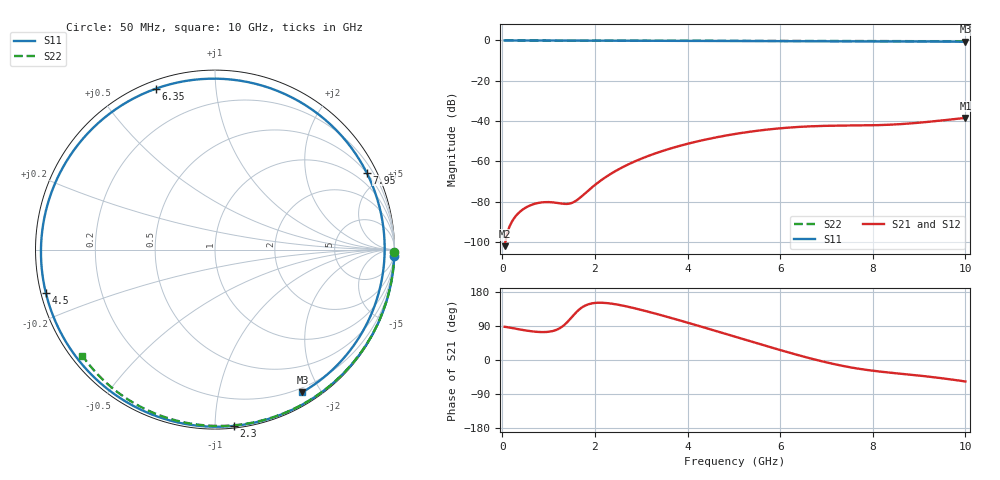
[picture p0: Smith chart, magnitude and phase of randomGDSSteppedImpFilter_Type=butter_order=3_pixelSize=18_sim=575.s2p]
! freq	dB(S11)	phase(S11)	dB(S12)	phase(S12)
!  dB(S21)	phase(S21)	dB(S22)	phase(S22)
!S-par simulation data
#  GHz  S  DB  R 50
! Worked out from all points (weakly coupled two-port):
!   200 points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, 50 MHz to 10 GHz, reference 50 ohm
!   highest |S21| = -38.39 dB at 10 GHz (marker M1); lowest = -102.0 dB at 50 MHz (marker M2)
!   lowest |S11| = -0.6 dB at 10 GHz (marker M3), VSWR 28.23, Z = 7.39 - j88.8 ohm
!   |S11| at or under -10 dB: nowhere
!   |S22| runs from -0.5 to 0.0 dB; largest |S21 - S12| = 0
!   S11 on the Smith chart (normalised r, x): 50 MHz: 1, -61; 2.3 GHz: 0.01, -1.11; 4.5 GHz: 0.01, -0.13; 6.35 GHz: 0.03, +0.70; 7.95 GHz: 0.49, +4.12; 10 GHz: 0.15, -1.78
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0.05  -0.00 -1.9  -101.97 87.5  -101.97 87.5  -0.00 -0.8
0.75  -0.03 -27.8  -80.68 74.3  -80.68 74.3  -0.01 -12.2
1.55  -0.07 -56.9  -80.03 119.9  -80.03 119.9  -0.03 -24.9
1.75  -0.08 -64.1  -76.58 141.0  -76.58 141.0  -0.04 -28.1
2.3  -0.11 -83.9  -66.73 149.6  -66.73 149.6  -0.05 -36.7
2.85  -0.13 -103.6  -60.07 136.7  -60.07 136.7  -0.06 -45.1
3.4  -0.16 -123.6  -55.24 119.3  -55.24 119.3  -0.07 -53.4
4  -0.20 -146.0  -51.23 98.6  -51.23 98.6  -0.09 -62.2
4.5  -0.24 -165.6  -48.58 80.7  -48.58 80.7  -0.10 -69.4
5.05  -0.29 171.6  -46.27 60.7  -46.27 60.7  -0.12 -77.2
5.7  -0.34 142.3  -44.24 37.0  -44.24 37.0  -0.14 -86.1
6.35  -0.40 110.3  -42.94 14.2  -42.94 14.2  -0.17 -94.8
6.7  -0.42 92.2  -42.53 2.7  -42.53 2.7  -0.19 -99.4
7  -0.44 76.3  -42.32 -6.3  -42.32 -6.3  -0.21 -103.3
7.3  -0.45 60.5  -42.21 -14.3  -42.21 -14.3  -0.23 -107.2
7.65  -0.46 42.2  -42.14 -22.1  -42.14 -22.1  -0.25 -111.6
7.95  -0.47 26.9  -42.06 -27.5  -42.06 -27.5  -0.28 -115.4
8.35  -0.48 7.5  -41.78 -33.2  -41.78 -33.2  -0.31 -120.5
8.7  -0.50 -8.4  -41.32 -37.4  -41.32 -37.4  -0.34 -124.9
9.05  -0.52 -23.3  -40.66 -41.8  -40.66 -41.8  -0.37 -129.3
9.5  -0.56 -40.8  -39.64 -48.2  -39.64 -48.2  -0.42 -135.0
10  -0.62 -58.5  -38.39 -56.7  -38.39 -56.7  -0.48 -141.3
